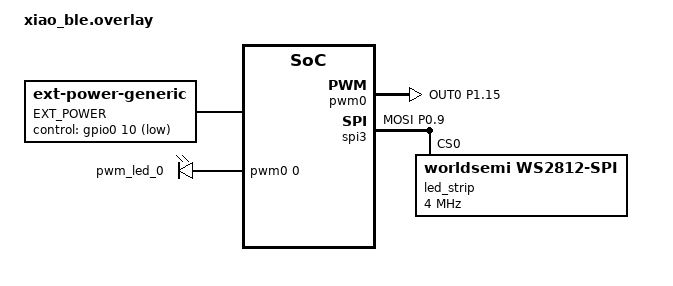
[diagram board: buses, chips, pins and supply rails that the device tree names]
#include <dt-bindings/led/led.h>
#include <dt-bindings/pinctrl/nrf-pinctrl.h>
#include <dt-bindings/pwm/pwm.h>

/* Free P0.09 (NFC1) and P0.10 (NFC2) from NFC mode to use as GPIOs */
&uicr {
    nfct-pins-as-gpios;
};

&pinctrl {
    /* D10 / P1.15 drives the AO3400A low-side backlight MOSFET. */
    wlf_pwm0_default: wlf_pwm0_default {
        group1 {
            psels = <NRF_PSEL(PWM_OUT0, 1, 15)>;
        };
    };

    wlf_pwm0_sleep: wlf_pwm0_sleep {
        group1 {
            psels = <NRF_PSEL(PWM_OUT0, 1, 15)>;
            low-power-enable;
        };
    };

    /* P0.09 (NFC1) drives the SK6812 Mini-E addressable Status LED data line */
    spi3_default: spi3_default {
        group1 {
            psels = <NRF_PSEL(SPIM_MOSI, 0, 9)>;
        };
    };

    spi3_sleep: spi3_sleep {
        group1 {
            psels = <NRF_PSEL(SPIM_MOSI, 0, 9)>;
            low-power-enable;
        };
    };
};

&pwm0 {
    status = "okay";
    pinctrl-0 = <&wlf_pwm0_default>;
    pinctrl-1 = <&wlf_pwm0_sleep>;
    pinctrl-names = "default", "sleep";
};

&spi3 {
    compatible = "nordic,nrf-spim";
    status = "okay";
    pinctrl-0 = <&spi3_default>;
    pinctrl-1 = <&spi3_sleep>;
    pinctrl-names = "default", "sleep";

    led_strip: ws2812@0 {
        compatible = "worldsemi,ws2812-spi";

        /* SPI */
        reg = <0>;
        spi-max-frequency = <4000000>;

        /* WS2812 / SK6812 */
        chain-length = <4>;
        spi-one-frame = <0x70>;
        spi-zero-frame = <0x40>;
        color-mapping = <LED_COLOR_ID_GREEN
                         LED_COLOR_ID_RED
                         LED_COLOR_ID_BLUE>;
        reset-delay = <280>;
    };
};

/ {
    chosen {
        zmk,underglow = &led_strip;
        widget_rgb = &led_strip;
    };

    aliases {
        status-ws2812 = &led_strip;
    };

    /* P0.10 (NFC2) controls the AO3407A P-channel high-side MOSFET for LED power */
    EXT_POWER {
        compatible = "zmk,ext-power-generic";
        control-gpios = <&gpio0 10 GPIO_ACTIVE_LOW>;
        init-delay-ms = <50>;
    };

    backlight: pwmleds {
        compatible = "pwm-leds";
        pwm_led_0 {
            pwms = <&pwm0 0 PWM_MSEC(10) PWM_POLARITY_NORMAL>;
        };
    };
};
